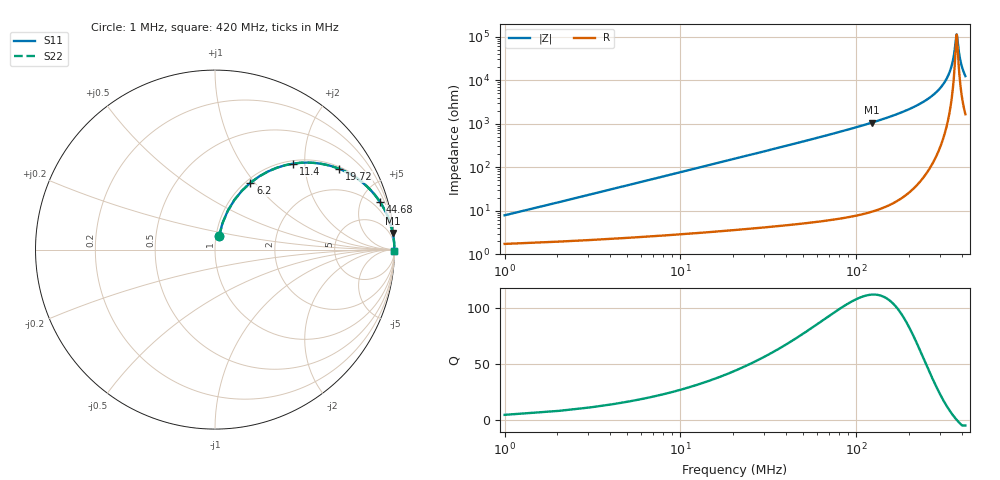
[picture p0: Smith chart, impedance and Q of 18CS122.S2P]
! Coilcraft 1812CS-122 Chip Inductor
! 31 July 2002
# MHZ S MA R 50
!Freq  MagS11  AngS11  MagS21  AngS21  MagS12  AngS12  MagS22  AngS22
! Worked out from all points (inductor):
!   404 points, 1 MHz to 420 MHz, reference 50 ohm
!   read as one part in series: L = 1.22 uH near 3.08 MHz
!   highest Q = 112 at 123.7 MHz (marker M1), where L = 1.37 uH
!   self-resonance near 374.4 MHz
!   S11 on the Smith chart (normalised r, x): 1 MHz: 1.03, +0.15; 6.2 MHz: 1.05, +0.95; 11.4 MHz: 1.06, +1.75; 19.72 MHz: 1.07, +3.03; 44.68 MHz: 1.10, +6.95; 420 MHz: open
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1  0.07703 73.0  0.9802 -4.3  0.9802 -4.3  0.07703 73.0
4.12  0.2958 68.7  0.9342 -17.2  0.9342 -17.2  0.2958 68.7
6.2  0.4213 62.1  0.8849 -24.9  0.8849 -24.9  0.4213 62.1
11.4  0.6477 47.7  0.7401 -40.3  0.7401 -40.3  0.6477 47.7
19.72  0.8259 33.0  0.5447 -55.7  0.5447 -55.7  0.8259 33.0
30.12  0.9127 23.1  0.3927 -65.9  0.3927 -65.9  0.9127 23.1
44.68  0.9575 16.0  0.2755 -73.2  0.2755 -73.2  0.9575 16.0
71.72  0.9832 9.9  0.1723 -79.5  0.1723 -79.5  0.9832 9.9
123.72  0.9948 5.4  0.09345 -84.1  0.09345 -84.1  0.9948 5.4
141.4  0.9962 4.5  0.07881 -85.0  0.07881 -85.0  0.9962 4.5
211.08  0.9986 2.4  0.04212 -86.8  0.04212 -86.8  0.9986 2.4
280.76  0.9992 1.2  0.02036 -87.1  0.02036 -87.1  0.9992 1.2
323.4  0.9992 0.6  0.01029 -85.4  0.01029 -85.4  0.9992 0.6
350.44  0.9992 0.3  0.004717 -79.9  0.004717 -79.9  0.9992 0.3
360.84  0.9992 0.1  0.002742 -72.0  0.002742 -72.0  0.9992 0.1
371.24  0.9991 0.0  0.001081 -35.9  0.001081 -35.9  0.9991 0.0
374.36  0.9991 0.0  0.0008879 -3.3  0.0008879 -3.3  0.9991 0.0
377.48  0.9991 -0.0  0.00104 30.3  0.00104 30.3  0.9991 -0.0
386.84  0.9991 -0.1  0.002416 67.2  0.002416 67.2  0.9991 -0.1
394.12  0.999 -0.2  0.003655 74.6  0.003655 74.6  0.999 -0.2
405.56  0.999 -0.3  0.005611 79.4  0.005611 79.4  0.999 -0.3
420  0.9989 -0.5  0.008034 81.9  0.008034 81.9  0.9989 -0.5
